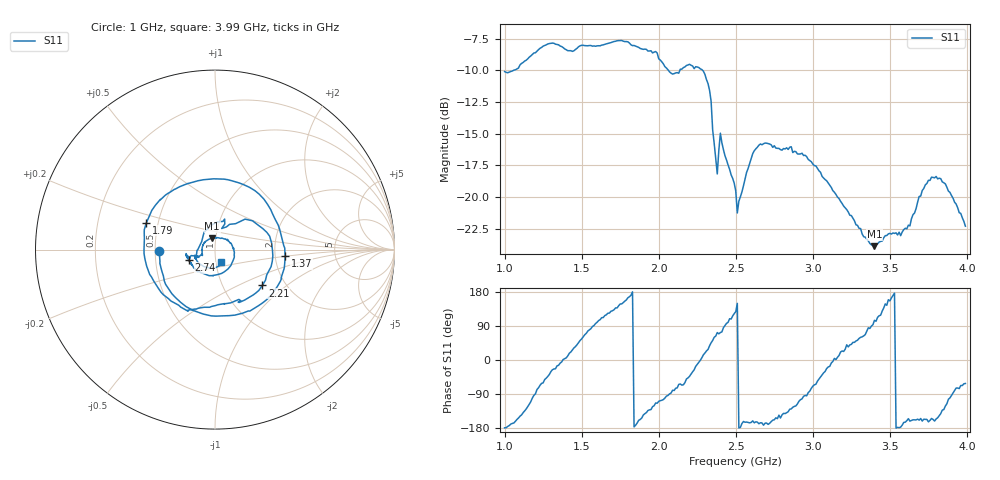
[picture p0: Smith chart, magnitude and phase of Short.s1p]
# MHz S MA R 50.0
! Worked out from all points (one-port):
!   300 points, 1 GHz to 3.99 GHz, reference 50 ohm
!   lowest |S11| = -23.9 dB at 3.4 GHz (marker M1), VSWR 1.14, Z = 48 + j5.97 ohm
!   |S11| at or under -10 dB: start of sweep to 1.059 GHz; 2.062 GHz to 2.137 GHz (75.08 MHz wide, 3.58 % of centre); 2.284 GHz to end of sweep
!   S11 on the Smith chart (normalised r, x): 1 GHz: 0.52, -0.01; 1.37 GHz: 2.27, -0.19; 1.79 GHz: 0.43, +0.16; 2.21 GHz: 1.53, -0.69; 2.74 GHz: 0.74, -0.09; 3.99 GHz: 1.06, -0.15
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1000  0.3125 -178.9
1110  0.3364 -144.9
1200  0.3707 -89.3
1300  0.4036 -30.9
1370  0.3921 -5.2
1380  0.3886 1.3
1540  0.3949 76.4
1750  0.414 147.8
1790  0.4103 158.5
1860  0.3917 -166.4
1980  0.3747 -113.6
2130  0.3079 -64.3
2210  0.3308 -37.1
2280  0.3182 6.0
2330  0.2635 37.5
2380  0.1233 72.4
2400  0.1786 72.5
2500  0.1056 127.5
2510  0.08653 149.4
2620  0.1522 -165.8
2740  0.157 -158.8
2870  0.1498 -124.7
3090  0.1159 -22.5
3250  0.0845 41.3
3400  0.06401 104.7
3620  0.07746 -154.9
3800  0.1205 -155.7
3990  0.07675 -62.0
